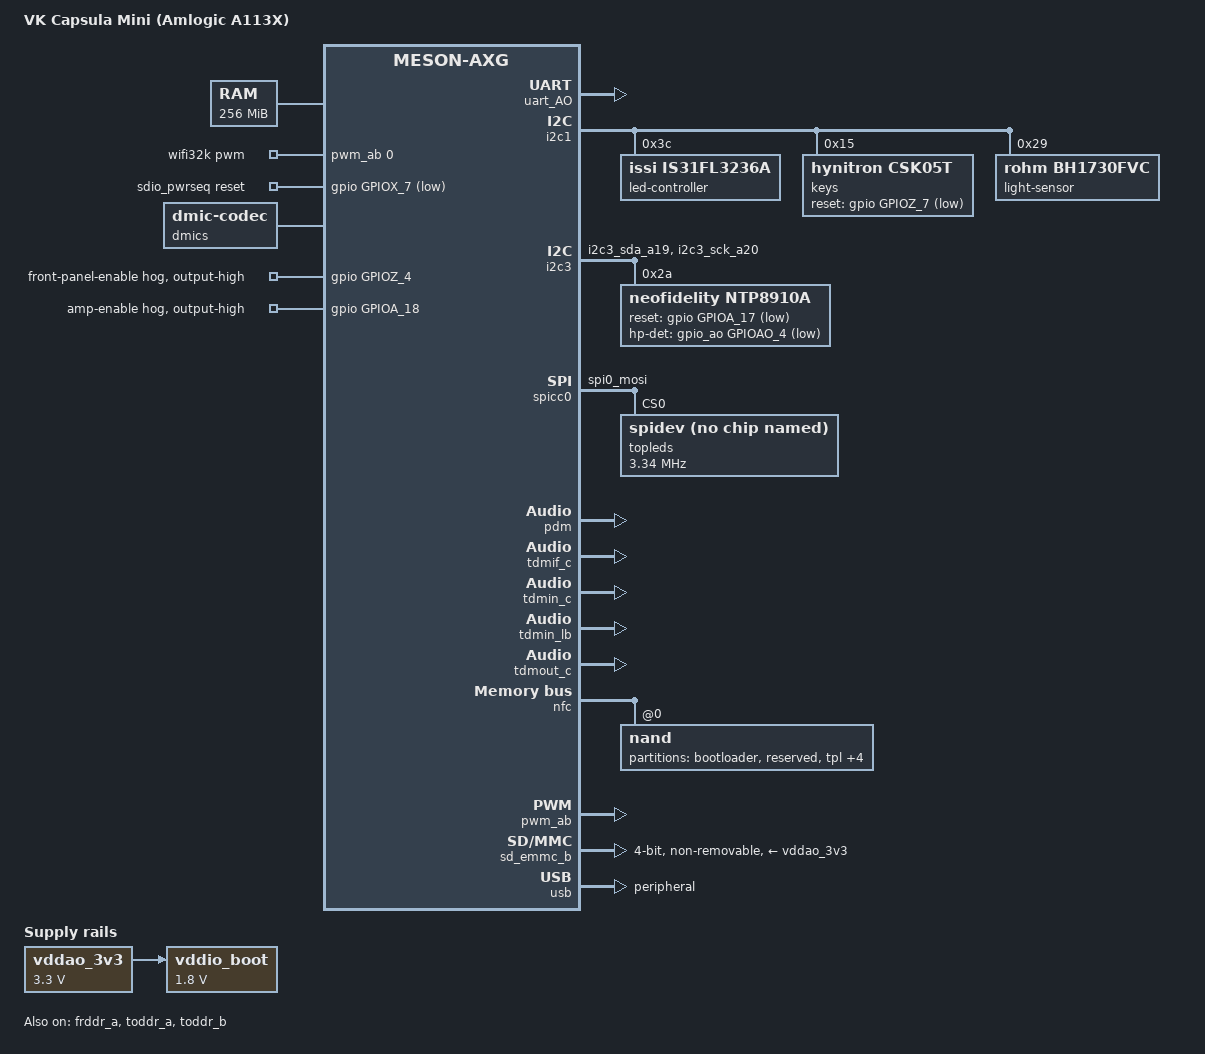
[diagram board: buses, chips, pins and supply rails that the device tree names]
// SPDX-License-Identifier: (GPL-2.0+ OR MIT)
/*
 * VK Capsula Mini - Amlogic AXG (A113X).
 */

/dts-v1/;

#include <dt-bindings/clock/axg-clkc.h>
#include <dt-bindings/clock/axg-audio-clkc.h>
#include <dt-bindings/gpio/gpio.h>
#include <dt-bindings/gpio/meson-axg-gpio.h>
#include <dt-bindings/input/input.h>
#include <dt-bindings/interrupt-controller/irq.h>

#include "meson-axg.dtsi"

/* Replace the upstream node name with the exact ABI vendor U-Boot expects. */
/delete-node/ &secmon_reserved;

/ {
	model = "VK Capsula Mini (Amlogic A113X)";

	compatible = "amlogic,a113d", "amlogic,meson-axg";

	aliases {
		serial0 = &uart_AO;
	};

	chosen {
		stdout-path = "serial0:115200n8";
		bootargs = "earlycon=meson,0xff803000 console=ttyAML0,115200n8 rdinit=/init loglevel=8 ignore_loglevel";
	};

	memory@0 {
		device_type = "memory";
		reg = <0x0 0x00000000 0x0 0x10000000>;
	};

	reserved-memory {
		/*
		 * Vendor rsvmem check wants these exact paths and compatible spelling,
		 * then overwrites reg from the secure AO registers. no-map keeps secure
		 * RAM out of CMA.
		 */
		uboot_secmon_reserved: linux,secmon {
			compatible = "amlogic, aml_secmon_memory";
			reg = <0x0 0x05000000 0x0 0x00400000>;
			no-map;
		};

		secos_reserved: linux,secos {
			compatible = "amlogic, aml_secos_memory";
			reg = <0x0 0x05300000 0x0 0x02000000>;
			no-map;
			status = "disabled";
		};
	};

	/*
	 * meson-gx-mmc takes ocr_avail from the vmmc regulator alone: without one
	 * the range is empty and the core says "no support for card's volts".
	 * 3.3 V card, 1.8 V I/O, which is what SDR104 needs.
	 */
	vddao_3v3: regulator-vddao-3v3 {
		compatible = "regulator-fixed";
		regulator-name = "VDDAO_3V3";
		regulator-min-microvolt = <3300000>;
		regulator-max-microvolt = <3300000>;
		regulator-always-on;
	};

	vddio_boot: regulator-vddio-boot {
		compatible = "regulator-fixed";
		regulator-name = "VDDIO_BOOT";
		regulator-min-microvolt = <1800000>;
		regulator-max-microvolt = <1800000>;
		vin-supply = <&vddao_3v3>;
		regulator-always-on;
	};

	/*
	 * Wi-Fi reference clock. The stock tree muxes PWM_A onto pwm_a_x20
	 * and calls the group wifi_32k_pins; 30518 ns is 32.768 kHz.
	 */
	wifi32k: wifi32k {
		compatible = "pwm-clock";
		#clock-cells = <0>;
		clock-frequency = <32768>;
		pwms = <&pwm_ab 0 30518 0>;
	};

	/*
	 * The W1 driver touches no GPIOs, so power is the sequencer's job.
	 * GPIOX_7 is power_on_pin in the stock tree. Active-low because mmc-pwrseq
	 * asserts "reset" to hold the chip off.
	 */
	sdio_pwrseq: sdio-pwrseq {
		compatible = "mmc-pwrseq-simple";
		reset-gpios = <&gpio GPIOX_7 GPIO_ACTIVE_LOW>;
		clocks = <&wifi32k>;
		clock-names = "ext_clock";
	};

	/*
	 * Four digits as one character line display. The driver takes this list
	 * as segment[digit * 7 + segment] with segments in a..g order, so the
	 * order of the phandles is the map.
	 *
	 *
	 * The led@N labels below are untouched: they say which controller
	 * channel drives which segment of which physical digit, which is
	 * soldering and does not care how the board sits in the case.
	 *
	 * The colon stays out of this list, it is not part of a character cell.
	 */
	display {
		compatible = "led-7-segment";

		leds = <&d4d>, <&d4e>, <&d4f>, <&d4a>, <&d4b>, <&d4c>, <&d4g>,
		       <&d3d>, <&d3e>, <&d3f>, <&d3a>, <&d3b>, <&d3c>, <&d3g>,
		       <&d2d>, <&d2e>, <&d2f>, <&d2a>, <&d2b>, <&d2c>, <&d2g>,
		       <&d1d>, <&d1e>, <&d1f>, <&d1a>, <&d1b>, <&d1c>, <&d1g>;
	};

	/*
	 * Generic DMIC codec terminating the PDM link. Two mics per data line,
	 * din0 and din1 routed, so four channels.
	 */
	dmics: audio-codec-0 {
		compatible = "dmic-codec";
		#sound-dai-cells = <0>;
		num-channels = <4>;
		wakeup-delay-ms = <50>;
		sound-name-prefix = "MIC";
	};

	sound {
		compatible = "amlogic,axg-sound-card";
		model = "MARUSIA-MINI";

		audio-aux-devs = <&tdmin_c>, <&tdmin_lb>, <&tdmout_c>;

		audio-routing = "TDMOUT_C IN 0", "FRDDR_A OUT 2",
				"TDM_C Playback", "TDMOUT_C OUT",
				"TDMIN_C IN 2", "TDM_C Capture",
				"TDMIN_LB IN 2", "TDM_C Loopback",
				"TODDR_A IN 4", "PDM Capture",
				"TODDR_B IN 2", "TDMIN_C OUT",
				"TODDR_B IN 6", "TDMIN_LB OUT";

		clocks = <&clkc CLKID_HIFI_PLL>,
			 <&clkc CLKID_MPLL0>,
			 <&clkc CLKID_MPLL1>;

		assigned-clocks = <&clkc CLKID_HIFI_PLL>,
				  <&clkc CLKID_MPLL0>,
				  <&clkc CLKID_MPLL1>;
		assigned-clock-parents = <0>, <0>, <0>;
		assigned-clock-rates = <589824000>,
				       <270950400>,
				       <393216000>;

		dai-link-0 {
			sound-dai = <&frddr_a>;
		};

		dai-link-1 {
			sound-dai = <&toddr_a>;
		};

		dai-link-2 {
			sound-dai = <&toddr_b>;
		};

		/*
		 * Speaker path: TX on lane 0 (tdmc_dout0).
		 *
		 * The RX mask below is declared but inert: ntp8918 offers no capture
		 * DAI, so this link has no capture direction and TDMIN_C never runs.
		 * Echo cancellation takes its reference from the SoC-internal TDM_C
		 * loopback instead. Kept because the wiring is real -- the amplifier's
		 * MONITOR_1 pin reaches tdmc_din1 -- and one .capture block in the
		 * codec would make it live.
		 *
		 * The 32-bit slot width is load-bearing: omit it and axg-card passes 0,
		 * 16-bit samples give a 1.536 MHz bit clock, and the amplifier takes only
		 * 2.048, 2.8224, 3.072 or 6.144.
		 */
		dai-link-3 {
			sound-dai = <&tdmif_c>;
			dai-format = "i2s";
			dai-tdm-slot-num = <2>;
			dai-tdm-slot-width = <32>;
			dai-tdm-slot-tx-mask-0 = <1 1>;
			dai-tdm-slot-rx-mask-1 = <1 1>;
			mclk-fs = <256>;

			codec {
				sound-dai = <&ntp8910a>;
			};
		};

		/* Microphone array. */
		dai-link-4 {
			sound-dai = <&pdm>;

			codec {
				sound-dai = <&dmics>;
			};
		};
	};
};

/*
 * A WS2812B chain needs MOSI alone, the bit pattern carries its own
 * timing. Upstream offers only a combined miso+mosi+clk group.
 */
&pinctrl_periphs {
	spi0_mosi_pins: spi0-mosi {
		mux {
			groups = "spi0_mosi";
			function = "spi0";
			bias-disable;
		};
	};

	i2c3_a19_pu_pins: i2c3-a19-pu {
		mux {
			groups = "i2c3_sda_a19",
				 "i2c3_sck_a20";
			function = "i2c3";
			bias-pull-up;
		};
	};
};

&uart_AO {
	status = "okay";
	pinctrl-0 = <&uart_ao_a_pins>;
	pinctrl-names = "default";
};

/*
 * GPIOZ_4 enables the front panel, either variant.
 */
&gpio {
	front_panel_enable_hog {
		gpio-hog;
		gpios = <GPIOZ_4 GPIO_ACTIVE_HIGH>;
		output-high;
		line-name = "front-panel-enable";
	};

	/*
	 * GPIOA_18 gates the amplifier.
	 *
	 * The stock tree calls it fault-gpios, but the vendor driver takes
	 * it GPIOD_OUT_HIGH and releases it 500us after reset:
	 *
	 *	reset  <- deasserted, 100us
	 *	reset  <- asserted
	 *	fault  <- asserted
	 *	300us
	 *	reset  <- deasserted, 500us
	 *	fault  <- deasserted, 500us
	 *
	 * so it gates the part rather than reporting faults.
	 */
	amp_enable_hog {
		gpio-hog;
		gpios = <GPIOA_18 GPIO_ACTIVE_HIGH>;
		output-high;
		line-name = "amp-enable";
	};
};

/*
 * i2c1: touch keys, light sensor, front panel. The panel is an IS31FL3236
 * at 0x3c or an AW21036 at 0x34 depending on batch; only the IS31 is
 * declared. AW21036 commented below as wiring reference.
 */
&i2c1 {
	status = "okay";
	pinctrl-0 = <&i2c1_z_pins>;
	pinctrl-names = "default";

	led-controller@3c {
		compatible = "issi,is31fl3236a";
		reg = <0x3c>;
		issi,22khz-pwm;

		/*
		 * Half the current every channel sources, which is what stock asked
		 * for with led-max-microamp = 10000 and upstream does not read. The
		 * divider is analogue, so at full PWM duty nothing switches at all.
		 */
		issi,current-divider = <2>;
		#address-cells = <1>;
		#size-cells = <0>;

		/*
		 * Channel-to-segment map, found by lighting one channel at a time: digit 1
		 * is channels 9..15, digit 2 is 1..8 without 2, which belongs to digit 4,
		 * and digits 3 and 4 share 18..30. Digits are numbered as the panel reads,
		 * which is upside down from the board. Four digits, HH:MM, plus a two-dot
		 * colon:
		 *
		 *        a
		 *      f   b
		 *        g
		 *      e   c
		 *        d
		 *
		 * The label reaches /sys/class/leds verbatim.
		 */
		d2d: led@1  { reg = <1>;  label = "clock:d2:d"; };
		d4d: led@2  { reg = <2>;  label = "clock:d4:d"; };
		d2e: led@3  { reg = <3>;  label = "clock:d2:e"; };
		d2g: led@4  { reg = <4>;  label = "clock:d2:g"; };
		d2c: led@5  { reg = <5>;  label = "clock:d2:c"; };
		d2a: led@6  { reg = <6>;  label = "clock:d2:a"; };
		d2b: led@7  { reg = <7>;  label = "clock:d2:b"; };
		d2f: led@8  { reg = <8>;  label = "clock:d2:f"; };
		d1c: led@9  { reg = <9>;  label = "clock:d1:c"; };
		d1g: led@a  { reg = <10>; label = "clock:d1:g"; };
		d1d: led@b  { reg = <11>; label = "clock:d1:d"; };
		d1f: led@c  { reg = <12>; label = "clock:d1:f"; };
		d1e: led@d  { reg = <13>; label = "clock:d1:e"; };
		d1b: led@e  { reg = <14>; label = "clock:d1:b"; };
		d1a: led@f  { reg = <15>; label = "clock:d1:a"; };

		/*
		 * Not part of a character cell - stays a plain LED, so it keeps
		 * its triggers. Named for where the dot appears to the reader:
		 * the panel is upside down, so channel 16 is the lower one.
		 */
		led@10 { reg = <16>; label = "clock:colon:bottom"; };
		led@11 { reg = <17>; label = "clock:colon:top"; };

		d4a: led@12 { reg = <18>; label = "clock:d4:a"; };
		d3a: led@13 { reg = <19>; label = "clock:d3:a"; };
		d3f: led@14 { reg = <20>; label = "clock:d3:f"; };
		d3g: led@15 { reg = <21>; label = "clock:d3:g"; };
		d4f: led@16 { reg = <22>; label = "clock:d4:f"; };
		d4b: led@17 { reg = <23>; label = "clock:d4:b"; };
		d3b: led@18 { reg = <24>; label = "clock:d3:b"; };
		d4g: led@19 { reg = <25>; label = "clock:d4:g"; };
		d3e: led@1a { reg = <26>; label = "clock:d3:e"; };
		d3d: led@1b { reg = <27>; label = "clock:d3:d"; };
		d3c: led@1c { reg = <28>; label = "clock:d3:c"; };
		d4e: led@1d { reg = <29>; label = "clock:d4:e"; };
		d4c: led@1e { reg = <30>; label = "clock:d4:c"; };
	};

	/*
	 * AW21036, the other panel variant, 30 channels, same clock-ledN meaning.
	 * leds-aw200xx.c is the AW20036 and is NOT this part. The driver is
	 * ordinary work; kept commented out because board on hand carries
	 * the IS31FL3236 and there is nothing to test it on.
	 *
	 * led-controller@34 {
	 *	compatible = "awinic,aw21036";
	 *	reg = <0x34>;
	 *	#address-cells = <1>;
	 *	#size-cells = <0>;
	 *	enable-gpios = <&gpio GPIOZ_4 GPIO_ACTIVE_HIGH>;
	 *	... led@1 .. led@30, reg = <1>..<30> ...
	 * };
	 *
	 */

	/*
	 * Hynitron CSK05T capacitive keys, five channels at 0x15.
	 *
	 * No interrupt, though stock describes one on GPIOZ_6: the part is
	 * reported never to produce an edge on INT. Channel 3 is the unmarked middle pad.
	 */
	keys@15 {
		compatible = "hynitron,csk05t";
		reg = <0x15>;
		reset-gpios = <&gpio GPIOZ_7 GPIO_ACTIVE_LOW>;
		linux,keycodes = <KEY_VOLUMEDOWN>,	/* channel 0 */
				 <KEY_MICMUTE>,		/* channel 1 */
				 <KEY_VOLUMEUP>,	/* channel 2 */
				 <KEY_PROG1>,		/* channel 3, centre */
				 <KEY_VOICECOMMAND>;	/* channel 4 */
	};

	/*
	 * Light sensor at 0x29, part id 0x71. INT unneeded, readings are taken
	 * on demand.
	 */
	light-sensor@29 {
		compatible = "rohm,bh1730fvc";
		reg = <0x29>;
	};
};

/* i2c3 (cbus 0x1c000). Amplifier only. */
&i2c3 {
	status = "okay";
	pinctrl-0 = <&i2c3_a19_pu_pins>;
	pinctrl-names = "default";

	/*
	 * NTP8910A, register-compatible with the NTP8918 for everything the driver
	 * touches, so the fallback compatible binds it. Its "bck" clock is the
	 * TDM-C bit clock, which runs continuously here.
	 */
	ntp8910a: audio-codec@2a {
		compatible = "neofidelity,ntp8910a", "neofidelity,ntp8918";
		reg = <0x2a>;
		#sound-dai-cells = <0>;
		reset-gpios = <&gpio GPIOA_17 GPIO_ACTIVE_LOW>;
		clocks = <&clkc_audio AUD_CLKID_MST_C_SCLK>;
		clock-names = "bck";

		/*
		 * The socket shorts this to ground when a plug goes in and the
		 * pad pull holds it up while the socket is empty; measured on
		 * the board, and it is the polarity the stock kernel selects
		 * with hp_det_inv. The jack is driven by its own converter off
		 * the same I2S link, so it keeps playing with this part shut
		 * down - the only thing insertion has to do is silence the
		 * speaker, which is why the line lives on the amplifier rather
		 * than on the card.
		 */
		hp-det-gpios = <&gpio_ao GPIOAO_4 GPIO_ACTIVE_LOW>;

		/*
		 * Pad 4 is GPIOAO_4: the controller numbers its hundred inputs
		 * bank by bank, AO first over 0..13, then Z, BOOT, A, X and Y
		 * - which is the same count that puts the s400 board's PHY on
		 * GPIOY_14 at 98.
		 *
		 * Only one edge can be asked for here; this generation has no
		 * both-edges mode and set_type refuses it. The named edge is
		 * the one an empty socket can still take, and the driver turns
		 * the trigger around after each change.
		 */
		interrupt-parent = <&gpio_intc>;
		interrupts = <4 IRQ_TYPE_EDGE_FALLING>;
	};
};

/*
 * Top ring: 12 WS2812B, 36 colour bytes as raw SPI data. No mainline
 * driver fits; spidev is the conventional placeholder, not a real part.
 */
&spicc0 {
	status = "okay";
	pinctrl-0 = <&spi0_mosi_pins>;
	pinctrl-names = "default";
	#address-cells = <1>;
	#size-cells = <0>;

	topleds@0 {
		compatible = "rohm,dh2228fv";
		reg = <0>;
		spi-max-frequency = <3340000>;
	};
};

&pcie_phy {
	status = "disabled";
};


/* Microphone array: dclk on A14, two data lines. */
&pdm {
	status = "okay";
	pinctrl-0 = <&pdm_dclk_a14_pins>, <&pdm_din0_pins>, <&pdm_din1_pins>;
	pinctrl-names = "default";
};

/*
 * TDM-C. Stock asks for "mclk_a", which upstream does not define; upstream
 * mclk_c is GPIOA_0 and both trees agree GPIOA_1 is mclk_b, so mclk_c is
 * the match. Worth confirming on a scope.....
 */
&tdmif_c {
	status = "okay";
	pinctrl-0 = <&tdmc_sclk_pins>, <&tdmc_fs_pins>,
		    <&tdmc_dout0_pins>, <&tdmc_din1_pins>,
		    <&mclk_c_pins>;
	pinctrl-names = "default";
};

&tdmin_c {
	status = "okay";
};

&tdmin_lb {
	status = "okay";
};

&tdmout_c {
	status = "okay";
};

&frddr_a {
	status = "okay";
};

&toddr_a {
	status = "okay";
};

&toddr_b {
	status = "okay";
};

/*
 * Toshiba TC58NVG1S3HBAI4, 256 MiB, 2 KiB pages, 128 KiB erase blocks,
 * 64 bytes of OOB.
 *
 * bch8, as stock bch_mode = "bch8_1k" asks and the only strength the AXG
 * driver has. Matching it is what lets Linux and U-Boot read each other's
 * writes. 
 */
&nfc {
	status = "okay";

	nand@0 {
		reg = <0>;
		/*
		 * Stock forces no-R/B mode and waits via STATUS then READ0. Absent
		 * nand-rb selects the matching path in the driver.
		 */
		nand-ecc-mode = "hw";
		nand-ecc-strength = <8>;

		/*
		 * 512, not the 1024 the bch8_1k name suggests: four ECC blocks of 512 with
		 * 2 user and 14 parity bytes each is exactly the 64 bytes of spare exposed,
		 * and it is what the parameter page asks for. Needs fix
		 * meson_nfc_cmd_access() to work.
		 */
		nand-ecc-step-size = <512>;

		partitions {
			compatible = "fixed-partitions";
			#address-cells = <1>;
			#size-cells = <1>;

			partition@0 {
				label = "bootloader";
				reg = <0x00000000 0x00200000>;
				read-only;
			};

			partition@200000 {
				label = "reserved";
				reg = <0x00200000 0x00600000>;
				read-only;
			};

			partition@800000 {
				label = "tpl";
				reg = <0x00800000 0x00800000>;
				read-only;
			};

			partition@1000000 {
				label = "misc";
				reg = <0x01000000 0x00200000>;
			};

			partition@1200000 {
				label = "kernel";
				reg = <0x01200000 0x01900000>;
			};

			partition@2b00000 {
				label = "dtb";
				reg = <0x02b00000 0x00100000>;
			};

			partition@2c00000 {
				label = "ubi";
				reg = <0x02c00000 0x0d400000>;
			};
		};
	};
};

/* PWM_A, used only as the Wi-Fi 32.768 kHz reference. */
&pwm_ab {
	status = "okay";
	pinctrl-0 = <&pwm_a_x20_pins>;
	pinctrl-names = "default";
};

/*
 * SDIO, carrying only the Amlogic W1 Wi-Fi part. No child node: the driver
 * binds by SDIO vendor/device id, not by compatible. Stock runs this bus
 * at SDR104.
 */
&sd_emmc_b {
	status = "okay";
	#address-cells = <1>;
	#size-cells = <0>;

	pinctrl-0 = <&sdio_pins>;
	pinctrl-1 = <&sdio_clk_gate_pins>;
	pinctrl-names = "default", "clk-gate";

	bus-width = <4>;
	cap-sd-highspeed;
	cap-sdio-irq;
	sd-uhs-sdr104;
	max-frequency = <200000000>;
	non-removable;
	disable-wp;

	mmc-pwrseq = <&sdio_pwrseq>;

	vmmc-supply = <&vddao_3v3>;
	vqmmc-supply = <&vddio_boot>;
};

&sd_emmc_c {
	status = "disabled";
};

&usb {
	status = "okay";
	dr_mode = "peripheral";
};
